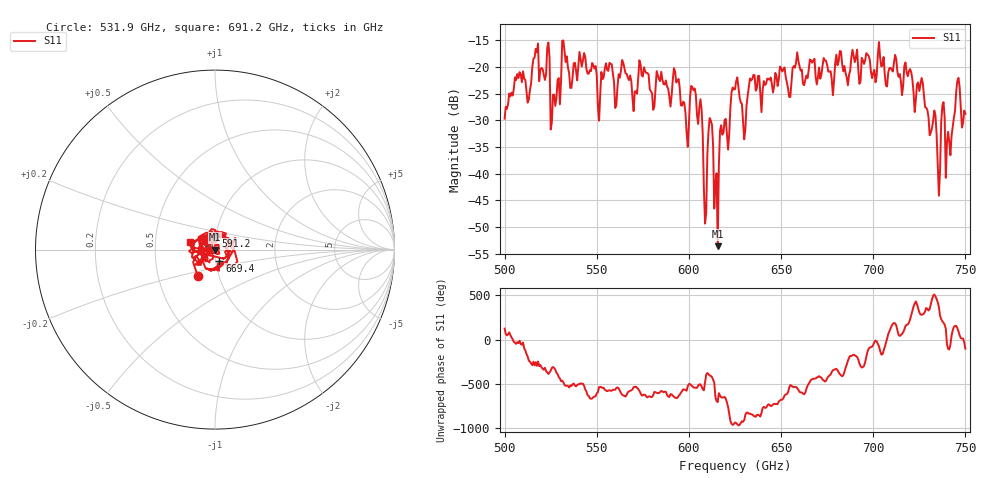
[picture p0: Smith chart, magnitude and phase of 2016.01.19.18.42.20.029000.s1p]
!Created with skrf (http://scikit-rf.org).
# GHz S RI R 50.0
!freq ReS11 ImS11
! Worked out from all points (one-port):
!   401 points, 500 GHz to 750 GHz, reference 50 ohm
!   lowest |S11| = -53.6 dB at 615.6 GHz (marker M1), VSWR 1.00, Z = 50.2 + j0.0553 ohm
!   |S11| at or under -10 dB: start of sweep to end of sweep
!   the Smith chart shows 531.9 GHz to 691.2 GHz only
!   S11 on the Smith chart (normalised r, x): 531.9 GHz: 0.79, -0.24; 591.2 GHz: 0.99, +0.15; 669.4 GHz: 1.04, -0.13; 691.2 GHz: 0.75, +0.07
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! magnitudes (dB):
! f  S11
! 500 GHz  -29.7
! 513.1 GHz  -26.1
! 516.9 GHz  -16.6
! 523.1 GHz  -16.4
! 526.2 GHz  -25.2
! 531.2 GHz  -15.1
! 531.9 GHz  -15.0
! 562.5 GHz  -22.0
! 591.2 GHz  -22.4
! 593.8 GHz  -22.6
! 598.8 GHz  -32.3
! 602.5 GHz  -24.4
! 606.2 GHz  -26.1
! 608.8 GHz  -49.4
! 611.9 GHz  -30.1
! 614.4 GHz  -41.9
! 615.6 GHz  -53.6
! 625 GHz  -24.2
! 630 GHz  -33.6
! 634.4 GHz  -22.3
! 656.2 GHz  -20.2
! 669.4 GHz  -23.3
! 687.5 GHz  -20.6
! 691.2 GHz  -16.8
! 718.8 GHz  -21.8
! 735.6 GHz  -44.1
! 745.6 GHz  -22.7
! 750 GHz  -28.8
